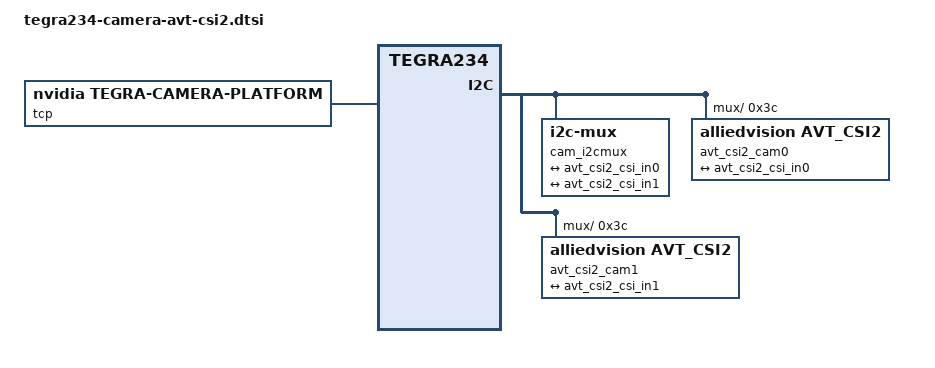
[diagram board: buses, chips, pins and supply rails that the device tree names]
/*
 * Copyright (c) 2023, Allied Vision Technologies.  All rights reserved
 *
 * This program is free software; you can redistribute it and/or modify
 * it under the terms of the GNU General Public License as published by
 * the Free Software Foundation; either version 2 of the License, or
 * (at your option) any later version.
 *
 * This program is distributed in the hope that it will be useful, but WITHOUT
 * ANY WARRANTY; without even the implied warranty of MERCHANTABILITY or
 * FITNESS FOR A PARTICULAR PURPOSE.  See the GNU General Public License for
 * more details.
 *
 * You should have received a copy of the GNU General Public License
 * along with this program.  If not, see <http://www.gnu.org/licenses/>.
 */
#include <dt-bindings/media/camera.h>

/ {
	tegra-capture-vi  {
			num-channels = <2>;
			ports {
				#address-cells = <1>;
				#size-cells = <0>;
				vi_port0: port@0 {
					reg = <0>;
					avt_csi2_vi_in0: endpoint {
						port-index = <1>;
						bus-width = <2>;
						remote-endpoint = <&avt_csi2_csi_out0>;
					};
				};
				vi_port1: port@1 {
					reg = <1>;
					avt_csi2_vi_in1: endpoint {
						port-index = <2>;
						bus-width = <4>;
						remote-endpoint = <&avt_csi2_csi_out1>;
					};
				};
			};
		};
	host1x@13e00000 {
		nvcsi@15a00000 {
			num-channels = <2>;
			#address-cells = <1>;
			#size-cells = <0>;
			csi_chan0: channel@0 {
				reg = <0>;
				ports {
					#address-cells = <1>;
					#size-cells = <0>;
					csi_chan0_port0: port@0 {
						reg = <0>;
						avt_csi2_csi_in0: endpoint@0 {
							port-index = <1>;
							bus-width = <2>;
							remote-endpoint = <&avt_csi2_out0>;
						};
					};
					csi_chan0_port1: port@1 {
						reg = <1>;
						avt_csi2_csi_out0: endpoint@1 {
							remote-endpoint = <&avt_csi2_vi_in0>;
						};
					};
				};
			};
			csi_chan1: channel@1 {
				reg = <1>;
				ports {
					#address-cells = <1>;
					#size-cells = <0>;
					csi_chan1_port0: port@0 {
						reg = <0>;
						avt_csi2_csi_in1: endpoint@2 {
							port-index = <2>;
							bus-width = <4>;
							remote-endpoint = <&avt_csi2_out1>;
						};
					};
					csi_chan1_port1: port@1 {
						reg = <1>;
						avt_csi2_csi_out1: endpoint@3 {
							remote-endpoint = <&avt_csi2_vi_in1>;
						};
					};
				};
			};
		};
	};

	cam_i2cmux {
		status="okay";
		i2c_0:i2c@0 {
			avt_csi2_cam0@3c {
				compatible = "alliedvision,avt_csi2";
				/* I2C device address */
				reg = <0x3c>;

				status = "okay";

				/* V4L2 device node location */
				devnode = "video0";

				mode0 {
					num_lanes = "2";
					tegra_sinterface = "serial_b";
					discontinuous_clk = "no";
					cil_settletime = "0";
					embedded_metadata_height = "0";
					lane_polarity = "6";

					/* not verified: */
					mclk_khz = "24000";
					phy_mode = "DPHY";
					dpcm_enable = "false";

					active_w = "5488";
					active_h = "4112";
					pixel_t = "bayer_bggr";
					csi_pixel_bit_depth = "4";
					readout_orientation = "0";
					line_length = "5488";
					inherent_gain = "1";
					mclk_multiplier = "31.25";
					pix_clk_hz = "750000000";

					gain_factor = "16";
					framerate_factor = "1000000";
					exposure_factor = "1000000";
					min_gain_val = "16"; /* 1.0 */
					max_gain_val = "256"; /* 16.0 */
					step_gain_val = "1"; /* 0.125 */
					min_hdr_ratio = "1";
					max_hdr_ratio = "64";
					min_framerate = "1500000"; /* 1.5 */
					max_framerate = "30000000"; /* 30 */
					step_framerate = "1";
					min_exp_time = "34"; /* us */
					max_exp_time = "550385"; /* us */
					step_exp_time = "1";
				};

				ports {
					#address-cells = <1>;
					#size-cells = <0>;
					port@0 {
						reg = <0>;
						avt_csi2_out0: endpoint {
							port-index = <1>;
							bus-width = <2>;
							remote-endpoint = <&avt_csi2_csi_in0>;
						};
					};
				};
			};
		};

		i2c_1: i2c@1 {
			avt_csi2_cam1@3c {
				compatible = "alliedvision,avt_csi2";
				/* I2C device address */
				reg = <0x3c>;

				status = "okay";

				/* V4L2 device node location */
				devnode = "video1";

				mode0 {
					num_lanes = "4";
					tegra_sinterface = "serial_c";
					discontinuous_clk = "no";
					cil_settletime = "0";
					embedded_metadata_height = "0";
					//lane_polarity = "0";

					/* not verified: */
					mclk_khz = "24000";
					phy_mode = "DPHY";
					dpcm_enable = "false";

					csi_pixel_bit_depth = "4";
					active_w = "5488";
					active_h = "4112";
					pixel_t = "bayer_bggr";
					readout_orientation = "0";
					line_length = "5488";
					inherent_gain = "1";
					mclk_multiplier = "31.25";
					pix_clk_hz = "750000000";

					gain_factor = "16";
					framerate_factor = "1000000";
					exposure_factor = "1000000";
					min_gain_val = "16"; /* 1.0 */
					max_gain_val = "256"; /* 16.0 */
					step_gain_val = "1"; /* 0.125 */
					min_hdr_ratio = "1";
					max_hdr_ratio = "64";
					min_framerate = "1500000"; /* 1.5 */
					max_framerate = "30000000"; /* 30 */
					step_framerate = "1";
					min_exp_time = "34"; /* us */
					max_exp_time = "550385"; /* us */
					step_exp_time = "1";
				};

				ports {
					#address-cells = <1>;
					#size-cells = <0>;
					port@0 {
						reg = <0>;
						avt_csi2_out1: endpoint {
							status = "okay";
							port-index = <2>;
							bus-width = <4>;
							remote-endpoint = <&avt_csi2_csi_in1>;
						};
					};
				};
			};
		};
	};

	tcp: tegra-camera-platform {
		compatible = "nvidia, tegra-camera-platform";
		/**
		* Physical settings to calculate max ISO BW
		*
		* num_csi_lanes = <>;
		* Total number of CSI lanes when all cameras are active
		*
		* max_lane_speed = <>;
		* Max lane speed in Kbit/s
		*
		* min_bits_per_pixel = <>;
		* Min bits per pixel
		*
		* vi_peak_byte_per_pixel = <>;
		* Max byte per pixel for the VI ISO case
		*
		* vi_bw_margin_pct = <>;
		* Vi bandwidth margin in percentage
		*
		* max_pixel_rate = <>;
		* Max pixel rate in Kpixel/s for the ISP ISO case
		*
		* isp_peak_byte_per_pixel = <>;
		* Max byte per pixel for the ISP ISO case
		*
		* isp_bw_margin_pct = <>;
		* Isp bandwidth margin in percentage
		*/
		num_csi_lanes = <4>;
		max_lane_speed = <1500000>;
		min_bits_per_pixel = <10>;
		vi_peak_byte_per_pixel = <2>;
		vi_bw_margin_pct = <25>;
		max_pixel_rate = <240000>;
		isp_peak_byte_per_pixel = <5>;
		isp_bw_margin_pct = <25>;

		/**
		 * The general guideline for naming badge_info contains 3 parts, and is as follows,
		 * The first part is the camera_board_id for the module; if the module is in a FFD
		 * platform, then use the platform name for this part.
		 * The second part contains the position of the module, ex. "rear" or "front".
		 * The third part contains the last 6 characters of a part number which is found
		 * in the module's specsheet from the vendor.
		 */
		modules {
			cam_module0: module0 {
				badge = "jakku_front_RBP194";
				position = "front";
				orientation = "1";
				cam_module0_drivernode0: drivernode0 {
					pcl_id = "v4l2_sensor";
					devname = "imx219 9-0010";
					proc-device-tree = "/proc/device-tree/cam_i2cmux/i2c@0/rbpcv2_imx219_a@10";
				};
			};
			cam_module1: module1 {
				badge = "jakku_rear_RBP194";
				position = "rear";
				orientation = "1";
				cam_module1_drivernode0: drivernode0 {
					pcl_id = "v4l2_sensor";
					devname = "imx219 10-0010";
					proc-device-tree = "/proc/device-tree/cam_i2cmux/i2c@1/rbpcv2_imx219_c@10";
				};
			};
		};
	};
};

